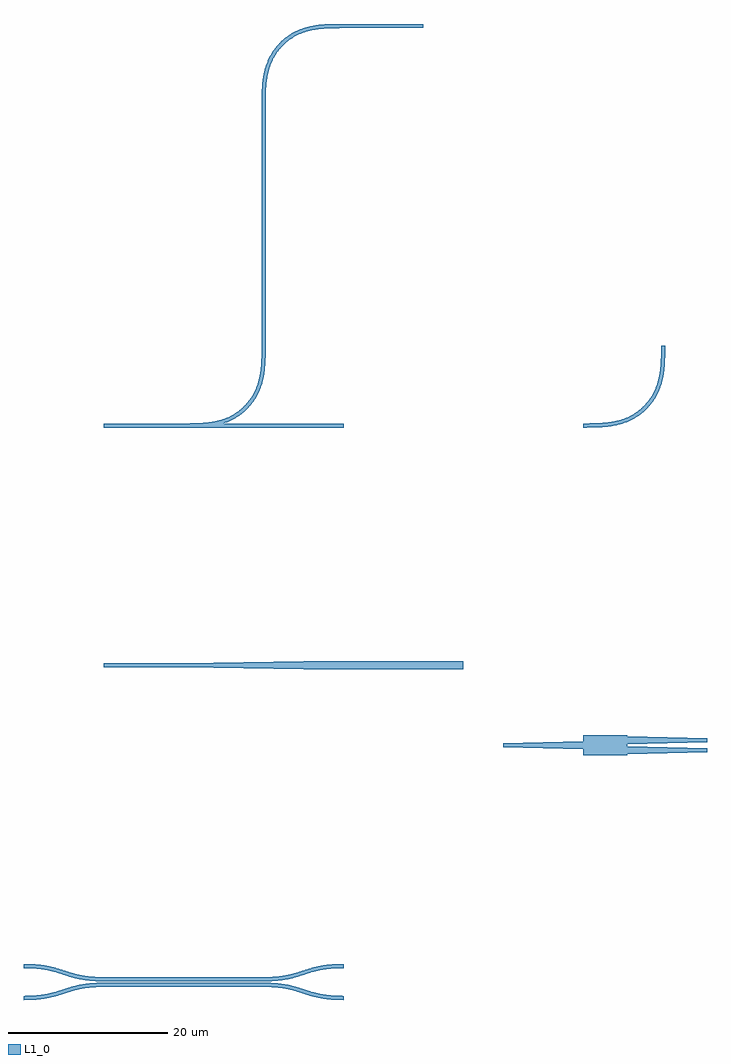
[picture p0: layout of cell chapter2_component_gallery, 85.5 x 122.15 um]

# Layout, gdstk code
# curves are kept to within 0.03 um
from math import pi, radians
import gdstk
lib = gdstk.Library(unit=1e-6, precision=1e-09)
def R(c, l, rs):  # rectangles x0, y0, x1, y1
    for r in rs: c.add(gdstk.rectangle(r[:2], r[2:], *l))
def P(c, l, *ps):  # polygons
    for p in ps: c.add(gdstk.Polygon(p, *l))
L1_0 = (1, 0)

bend_euler_gdsfactorypco = lib.new_cell('bend_euler_gdsfactorypcomponentspbendspbend_euler_R10_A_a86bc407')
P(bend_euler_gdsfactorypco, L1_0, [(0,-0.25),(0,0.25),(1.655,0.269),(2.881,0.353),(3.952,0.52),(4.99,0.806),(5.731,1.113),(6.431,1.505),(7.079,1.976),(7.575,2.425),(8.024,2.921),(8.495,3.569),(8.887,4.269),(9.194,5.01),(9.48,6.048),(9.647,7.119),(9.731,8.345),(9.75,10),(10.25,10),(10.235,8.468),(10.158,7.205),(10.023,6.224),(9.797,5.254),(9.457,4.312),(9.066,3.545),(8.5,2.715),(7.928,2.072),(7.285,1.5),(6.455,0.934),(5.688,0.543),(4.746,0.203),(3.776,-0.023),(2.795,-0.158),(1.532,-0.235)])

mmi1x2_gdsfactorypcompon = lib.new_cell('mmi1x2_gdsfactorypcomponentspmmispmmi1x2_WNone_WT1_LT10_1f097353')
P(mmi1x2_gdsfactorypcompon, L1_0, [(0,-1.25),(0,-0.5),(-10,-0.25),(-10,0.25),(0,0.5),(0,1.25),(5.5,1.25),(5.5,1.125),(15.5,0.875),(15.5,0.375),(5.5,0.125),(5.5,-0.125),(15.5,-0.375),(15.5,-0.875),(5.5,-1.125),(5.5,-1.25)])

straight_gdsfactorypcomp = lib.new_cell('straight_gdsfactorypcomponentspwaveguidespstraight_L30__446fe0ed')
R(straight_gdsfactorypcomp, L1_0, [(0,-0.25,30,0.25)])

pdk_straight_l30_w0p5 = lib.new_cell('pdk_straight_L30_W0p5')
pdk_straight_l30_w0p5.add(gdstk.Reference(straight_gdsfactorypcomp, (0,0)))

c_straight_gdsfactorypcomp = lib.new_cell('straight_gdsfactorypcomponentspwaveguidespstraight_L10__85b3dc78')
R(c_straight_gdsfactorypcomp, L1_0, [(0,-0.225,10,0.225)])

taper_gdsfactorypcompone = lib.new_cell('taper_gdsfactorypcomponentsptapersptaper_L15_W0p45_W1_L_742160b5')
P(taper_gdsfactorypcompone, L1_0, [(15,-0.5),(0,-0.225),(0,0.225),(15,0.5)])

c_straight_gdsfactorypcomp_ = lib.new_cell('straight_gdsfactorypcomponentspwaveguidespstraight_L20__dcaeef8f')
R(c_straight_gdsfactorypcomp_, L1_0, [(0,-0.5,20,0.5)])

taper_amjuk_w0p45_w1_l10 = lib.new_cell('taper_amjuk_W0p45_W1_L10_L20_TL15')
taper_amjuk_w0p45_w1_l10.add(gdstk.Reference(c_straight_gdsfactorypcomp, (0,0)))
taper_amjuk_w0p45_w1_l10.add(gdstk.Reference(taper_gdsfactorypcompone, (10,0)))
taper_amjuk_w0p45_w1_l10.add(gdstk.Reference(c_straight_gdsfactorypcomp_, (25,0)))

coupler_gdsfactorypcompo = lib.new_cell('coupler_gdsfactorypcomponentspcouplerspcoupler_G0p2_L20_cf27fb7f')
P(coupler_gdsfactorypcompo, L1_0, [(-10,-1.9),(-10,-1.4),(-8.633,-1.353),(-7.417,-1.209),(-6.25,-0.951),(-4.051,-0.264),(-3.066,-0.022),(-1.653,0.181),(-0.303,0.248),(21.011,0.226),(22.123,0.131),(23.35,-0.083),(26.25,-0.951),(27.319,-1.192),(28.633,-1.353),(30,-1.4),(30,-1.9),(28.989,-1.876),(27.877,-1.781),(26.379,-1.502),(24.073,-0.791),(23.059,-0.531),(21.952,-0.352),(20.719,-0.262),(-0.297,-0.252),(-1.725,-0.328),(-2.967,-0.512),(-4.073,-0.791),(-6.033,-1.41),(-7.335,-1.702),(-8.596,-1.851)],
  [(0,0.45),(-1.404,0.499),(-2.665,0.648),(-3.967,0.94),(-5.927,1.559),(-7.033,1.838),(-8.392,2.033),(-10,2.1),(-10,2.6),(-8.596,2.551),(-7.335,2.402),(-6.033,2.11),(-4.073,1.491),(-2.967,1.212),(-1.608,1.017),(0,0.95),(21.115,0.981),(22.276,1.094),(23.327,1.291),(26.033,2.11),(27.131,2.366),(28.347,2.531),(30,2.6),(30,2.1),(28.633,2.053),(27.222,1.874),(26.087,1.605),(23.532,0.826),(22.561,0.631),(21.404,0.499),(20,0.45)])

custom_coupler_l20_g0p2 = lib.new_cell('custom_coupler_L20_G0p2')
custom_coupler_l20_g0p2.add(gdstk.Reference(coupler_gdsfactorypcompo, (0,0)))

c_straight_gdsfactorypcomp__ = lib.new_cell('straight_gdsfactorypcomponentspwaveguidespstraight_L10__d72987f6')
R(c_straight_gdsfactorypcomp__, L1_0, [(0,-0.25,10,0.25)])

c_bend_euler_gdsfactorypco = lib.new_cell('bend_euler_gdsfactorypcomponentspbendspbend_euler_R10_A_cf360922')
P(c_bend_euler_gdsfactorypco, L1_0, [(0,-0.25),(0,0.25),(1.655,0.269),(2.881,0.353),(3.952,0.52),(4.99,0.806),(5.731,1.113),(6.431,1.505),(7.079,1.976),(7.575,2.425),(8.024,2.921),(8.495,3.569),(8.887,4.269),(9.194,5.01),(9.48,6.048),(9.647,7.119),(9.731,8.345),(9.75,10),(10.25,10),(10.235,8.468),(10.158,7.205),(10.023,6.224),(9.797,5.254),(9.457,4.312),(9.066,3.545),(8.5,2.715),(7.928,2.072),(7.285,1.5),(6.455,0.934),(5.688,0.543),(4.746,0.203),(3.776,-0.023),(2.795,-0.158),(1.532,-0.235)])

chapter2_component_galle = lib.new_cell('chapter2_component_gallery')
chapter2_component_galle.add(gdstk.Reference(bend_euler_gdsfactorypco, (60,0)))
chapter2_component_galle.add(gdstk.Reference(mmi1x2_gdsfactorypcompon, (60,-40)))
chapter2_component_galle.add(gdstk.Reference(pdk_straight_l30_w0p5, (0,0)))
chapter2_component_galle.add(gdstk.Reference(taper_amjuk_w0p45_w1_l10, (0,-30)))
chapter2_component_galle.add(gdstk.Reference(custom_coupler_l20_g0p2, (0,-70)))
chapter2_component_galle.add(gdstk.Reference(c_straight_gdsfactorypcomp__, (0,0)))
chapter2_component_galle.add(gdstk.Reference(c_straight_gdsfactorypcomp__, (30,50)))
chapter2_component_galle.add(gdstk.Reference(c_bend_euler_gdsfactorypco, (20,10), rotation=3*pi/2, x_reflection=True))
chapter2_component_galle.add(gdstk.Reference(c_bend_euler_gdsfactorypco, (30,50), rotation=pi))
chapter2_component_galle.add(gdstk.Reference(straight_gdsfactorypcomp, (20,10), rotation=pi/2))

lib.write_gds('chapter2_component_gallery.gds')
